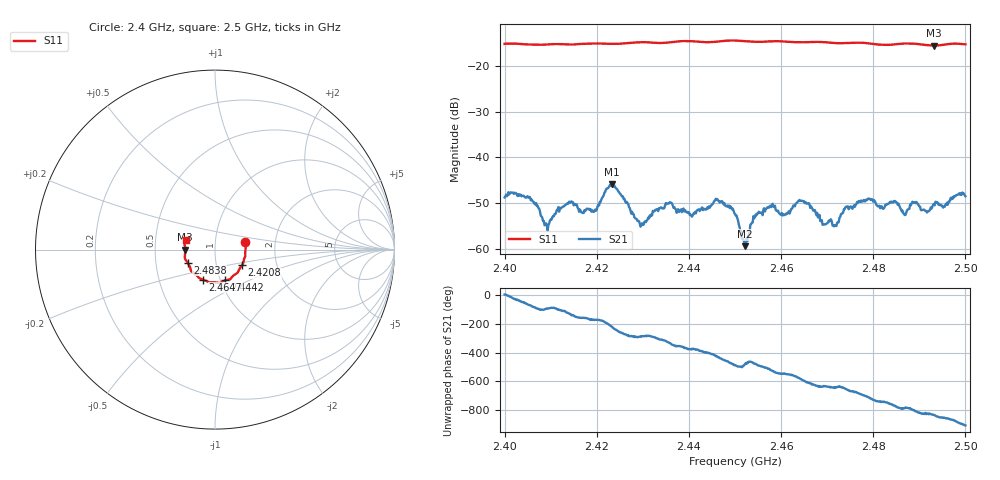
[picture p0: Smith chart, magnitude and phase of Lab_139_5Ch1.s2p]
# Hz S RI R 50
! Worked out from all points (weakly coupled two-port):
!   601 points, 2.4 GHz to 2.5 GHz, reference 50 ohm
!   highest |S21| = -45.89 dB at 2.4233 GHz (marker M1); lowest = -59.3 dB at 2.4522 GHz (marker M2)
!   lowest |S11| = -15.6 dB at 2.4932 GHz (marker M3), VSWR 1.40, Z = 35.8 - j0.0735 ohm
!   |S11| at or under -10 dB: start of sweep to end of sweep
!   S12 and S22 are empty: the file has one direction only
!   S11 on the Smith chart (normalised r, x): 2.4 GHz: 1.40, +0.12; 2.4208 GHz: 1.33, -0.24; 2.4442 GHz: 1.05, -0.37; 2.4647 GHz: 0.83, -0.29; 2.4838 GHz: 0.73, -0.11; 2.5 GHz: 0.72, +0.08
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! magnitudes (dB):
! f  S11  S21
! 2.4 GHz  -15.2  -48.7
! 2.4053 GHz  -15.4  -48.8
! 2.4092 GHz  -15.4  -54.7
! 2.414 GHz  -15.4  -49.6
! 2.4167 GHz  -15.2  -52.0
! 2.4208 GHz  -15.2  -49.7
! 2.4233 GHz  -15.2  -45.9
! 2.4297 GHz  -14.9  -54.8
! 2.4333 GHz  -15.0  -51.7
! 2.4442 GHz  -14.9  -51.1
! 2.45 GHz  -14.5  -52.3
! 2.4522 GHz  -14.7  -59.3
! 2.455 GHz  -14.8  -52.2
! 2.4647 GHz  -14.9  -49.5
! 2.4667 GHz  -14.8  -51.0
! 2.4717 GHz  -15.1  -54.8
! 2.477 GHz  -15.0  -49.6
! 2.4833 GHz  -15.5  -50.1
! 2.4838 GHz  -15.4  -49.8
! 2.4867 GHz  -15.2  -52.3
! 2.4932 GHz  -15.6  -50.1
! 2.5 GHz  -15.3  -48.5
